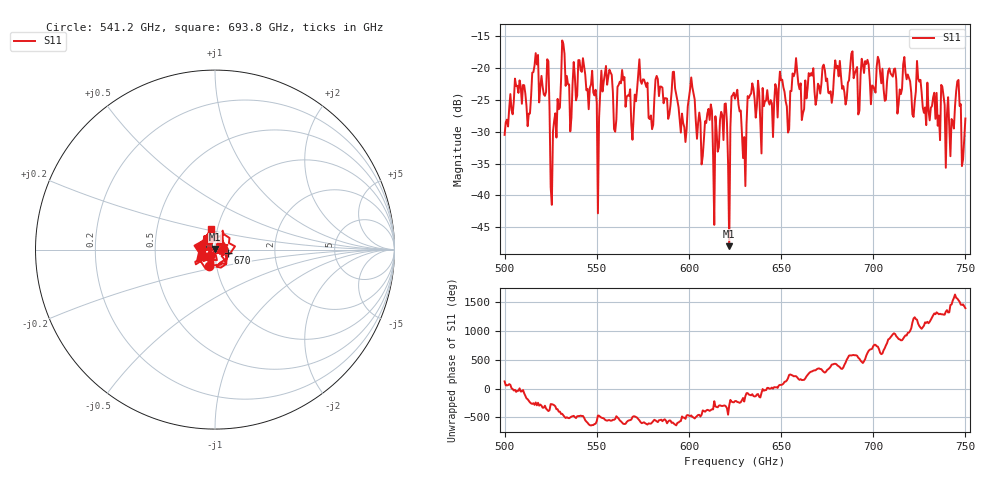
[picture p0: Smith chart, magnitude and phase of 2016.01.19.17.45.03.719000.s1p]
!Created with skrf (http://scikit-rf.org).
# GHz S RI R 50.0
!freq ReS11 ImS11
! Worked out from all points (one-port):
!   401 points, 500 GHz to 750 GHz, reference 50 ohm
!   lowest |S11| = -47.9 dB at 621.9 GHz (marker M1), VSWR 1.01, Z = 50.1 + j0.376 ohm
!   |S11| at or under -10 dB: start of sweep to end of sweep
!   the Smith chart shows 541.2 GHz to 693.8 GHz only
!   S11 on the Smith chart (normalised r, x): 541.2 GHz: 0.92, -0.17; 670 GHz: 1.15, -0.05; 693.8 GHz: 0.93, +0.22
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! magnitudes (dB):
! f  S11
! 500 GHz  -30.5
! 506.9 GHz  -22.8
! 513.1 GHz  -27.2
! 516.9 GHz  -17.7
! 523.1 GHz  -18.7
! 526.2 GHz  -30.0
! 531.2 GHz  -15.7
! 535.6 GHz  -30.0
! 541.2 GHz  -20.4
! 550 GHz  -25.5
! 553.8 GHz  -22.3
! 560 GHz  -30.0
! 562.5 GHz  -22.2
! 593.8 GHz  -25.1
! 614.4 GHz  -27.6
! 618.8 GHz  -31.3
! 621.9 GHz  -47.9
! 625 GHz  -24.9
! 630 GHz  -30.9
! 633.1 GHz  -24.3
! 656.2 GHz  -20.9
! 670 GHz  -22.5
! 687.5 GHz  -19.9
! 693.8 GHz  -18.6
! 718.8 GHz  -21.1
! 740.6 GHz  -24.6
! 746.2 GHz  -21.9
! 750 GHz  -27.9
